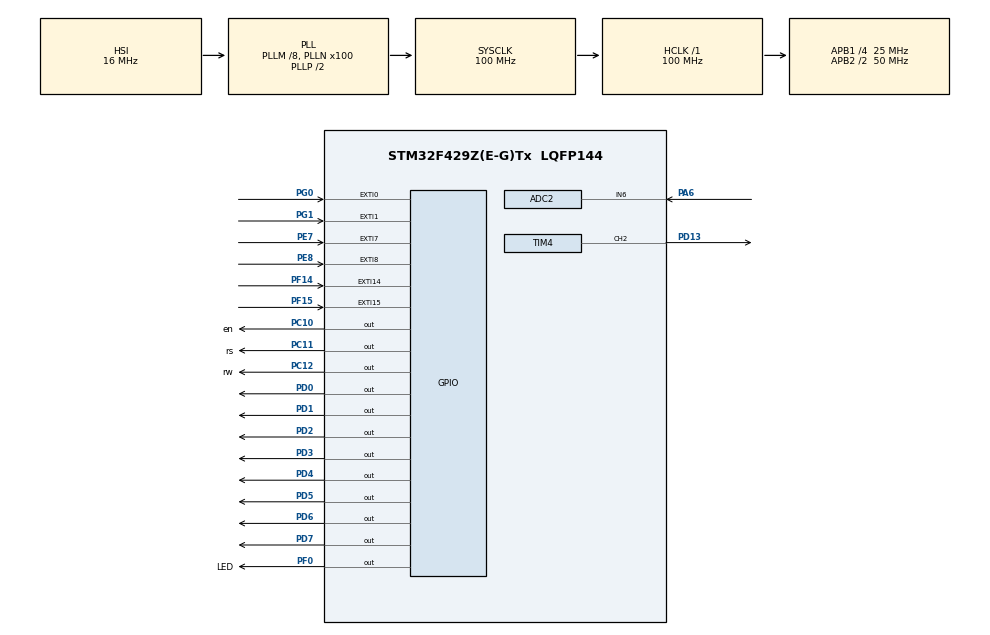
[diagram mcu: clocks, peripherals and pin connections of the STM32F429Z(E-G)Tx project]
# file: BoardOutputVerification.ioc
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ADC2.Channel-0\#ChannelRegularConversion=ADC_CHANNEL_6
ADC2.Channel-IN6=ADC_CHANNEL_6
ADC2.ClockPrescaler=ADC_CLOCK_SYNC_PCLK_DIV4
ADC2.ContinuousConvMode=DISABLE
ADC2.DMAContinuousRequests=DISABLE
ADC2.DataAlign=ADC_DATAALIGN_RIGHT
ADC2.DiscontinuousConvMode=DISABLE
ADC2.EOCSelection=ADC_EOC_SINGLE_CONV
ADC2.EnableAnalogWatchDog=false
ADC2.ExternalTrigConv=ADC_SOFTWARE_START
ADC2.ExternalTrigConvEdge=ADC_EXTERNALTRIGCONVEDGE_NONE
ADC2.InjNumberOfConversion=0
ADC2.Mode=__NULL
ADC2.NbrOfConversion=1
ADC2.Rank-0\#ChannelRegularConversion=1
ADC2.Resolution=ADC_RESOLUTION_12B
ADC2.SamplingTime-0\#ChannelRegularConversion=ADC_SAMPLETIME_3CYCLES
ADC2.ScanConvMode=DISABLE
Mcu.Family=STM32F4
Mcu.Name=STM32F429Z(E-G)Tx
Mcu.Package=LQFP144
NVIC.ADC_IRQn=true\:0\:0\:false\:false\:true\:true\:true
NVIC.PriorityGroup=NVIC_PRIORITYGROUP_4
PA13.Mode=Trace_Asynchronous_SW
PA13.Signal=SYS_JTMS-SWDIO
PA14.Mode=Trace_Asynchronous_SW
PA14.Signal=SYS_JTCK-SWCLK
PA6.Signal=ADCx_IN6
PB3.Mode=Trace_Asynchronous_SW
PB3.Signal=SYS_JTDO-SWO
PC10.GPIO_Label=en
PC10.Signal=GPIO_Output
PC11.GPIO_Label=rs
PC11.Signal=GPIO_Output
PC12.GPIO_Label=rw
PC12.Signal=GPIO_Output
PD0.Signal=GPIO_Output
PD1.Signal=GPIO_Output
PD13.Signal=S_TIM4_CH2
PD2.Signal=GPIO_Output
PD3.Signal=GPIO_Output
PD4.Signal=GPIO_Output
PD5.Signal=GPIO_Output
PD6.Signal=GPIO_Output
PD7.Signal=GPIO_Output
PE7.GPIO_ModeDefaultEXTI=GPIO_MODE_IT_FALLING
PE7.GPIO_PuPd=GPIO_PULLUP
PE7.Signal=GPXTI7
PE8.GPIO_ModeDefaultEXTI=GPIO_MODE_IT_FALLING
PE8.GPIO_PuPd=GPIO_PULLUP
PE8.Signal=GPXTI8
PF0.GPIO_Label=LED
PF0.Signal=GPIO_Output
PF14.GPIO_ModeDefaultEXTI=GPIO_MODE_IT_FALLING
PF14.GPIO_PuPd=GPIO_PULLUP
PF14.Signal=GPXTI14
PF15.GPIO_ModeDefaultEXTI=GPIO_MODE_IT_FALLING
PF15.GPIO_PuPd=GPIO_PULLUP
PF15.Signal=GPXTI15
PG0.GPIO_ModeDefaultEXTI=GPIO_MODE_IT_FALLING
PG0.GPIO_PuPd=GPIO_PULLUP
PG0.Signal=GPXTI0
PG1.GPIO_ModeDefaultEXTI=GPIO_MODE_IT_FALLING
PG1.GPIO_PuPd=GPIO_PULLUP
PG1.Signal=GPXTI1
PH0/OSC_IN.Mode=HSE-External-Oscillator
PH0/OSC_IN.Signal=RCC_OSC_IN
PH1/OSC_OUT.Mode=HSE-External-Oscillator
PH1/OSC_OUT.Signal=RCC_OSC_OUT
ProjectManager.HeapSize=0x200
ProjectManager.StackSize=0x400
ProjectManager.TargetToolchain=EWARM V8
RCC.48MHZClocksFreq_Value=50000000
RCC.AHBFreq_Value=100000000
RCC.APB1CLKDivider=RCC_HCLK_DIV4
RCC.APB1Freq_Value=25000000
RCC.APB1TimFreq_Value=50000000
RCC.APB2CLKDivider=RCC_HCLK_DIV2
RCC.APB2Freq_Value=50000000
RCC.APB2TimFreq_Value=100000000
RCC.CortexFreq_Value=100000000
RCC.FLatency=FLASH_LATENCY_3
RCC.HCLKFreq_Value=100000000
RCC.HSE_VALUE=25000000
RCC.HSI_VALUE=16000000
RCC.LSE_VALUE=32768
RCC.PLLM=8
RCC.PLLN=100
RCC.SYSCLKFreq_VALUE=100000000
RCC.SYSCLKSource=RCC_SYSCLKSOURCE_PLLCLK
RCC.VCOOutputFreq_Value=200000000
SH.ADCx_IN6.0=ADC2_IN6,IN6
SH.S_TIM4_CH2.0=TIM4_CH2,PWM Generation2 CH2
TIM4.AutoReloadPreload=TIM_AUTORELOAD_PRELOAD_DISABLE
TIM4.Channel-PWM\ Generation2\ CH2=TIM_CHANNEL_2
TIM4.ClockDivision=TIM_CLOCKDIVISION_DIV1
TIM4.CounterMode=TIM_COUNTERMODE_UP
TIM4.OCFastMode_PWM-PWM\ Generation2\ CH2=TIM_OCFAST_DISABLE
TIM4.OCMode_PWM-PWM\ Generation2\ CH2=TIM_OCMODE_PWM1
TIM4.OCPolarity_2=TIM_OCPOLARITY_HIGH
TIM4.Period=0xFFFF
TIM4.Prescaler=7
TIM4.Pulse-PWM\ Generation2\ CH2=0
TIM4.TIM_MasterOutputTrigger=TIM_TRGO_RESET
TIM4.TIM_MasterSlaveMode=TIM_MASTERSLAVEMODE_DISABLE
board=custom

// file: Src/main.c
/* USER CODE BEGIN Header */
/**
  ******************************************************************************
  * @file           : main.c
  * @brief          : Main program body
  ******************************************************************************
  * @attention
  *
  * <h2><center>&copy; Copyright (c) 2020 STMicroelectronics.
  * All rights reserved.</center></h2>
  *
  * This software component is licensed by ST under BSD 3-Clause license,
  * the "License"; You may not use this file except in compliance with the
  * License. You may obtain a copy of the License at:
  *                        opensource.org/licenses/BSD-3-Clause
  *
  ******************************************************************************
  */
/* USER CODE END Header */

#include "main.h"

ADC_HandleTypeDef hadc2;

TIM_HandleTypeDef htim4;

void SystemClock_Config(void);
static void MX_GPIO_Init(void);
static void MX_ADC2_Init(void);
static void MX_TIM4_Init(void);

int main(void)
{
  /* USER CODE BEGIN 1 */
  printf("Booting\n");
  /* USER CODE END 1 */

  /* MCU Configuration--------------------------------------------------------*/

  /* Reset of all peripherals, Initializes the Flash interface and the Systick. */
  HAL_Init();

  /* Configure the system clock */
  SystemClock_Config();

  /* Initialize all configured peripherals */
  MX_GPIO_Init();
  MX_ADC2_Init();
  MX_TIM4_Init();

  /* Infinite loop */
  /* USER CODE BEGIN WHILE */
  while (1)
  {
    printf("Fuckayou\n");
    HAL_GPIO_TogglePin(LED_GPIO_Port, LED_Pin);
    HAL_Delay(10);
    HAL_GPIO_TogglePin(GPIOC, en_Pin);
    HAL_Delay(10);
    HAL_GPIO_TogglePin(GPIOC, rs_Pin);
    HAL_Delay(10);
    HAL_GPIO_TogglePin(GPIOC, rw_Pin);
    HAL_Delay(10);
    HAL_GPIO_TogglePin(GPIOD, GPIO_PIN_0);
    HAL_Delay(10);
    HAL_GPIO_TogglePin(GPIOD, GPIO_PIN_1);
    HAL_Delay(10);
    HAL_GPIO_TogglePin(GPIOD, GPIO_PIN_2);
    HAL_Delay(10);
    HAL_GPIO_TogglePin(GPIOD, GPIO_PIN_3);
    HAL_Delay(10);
    HAL_GPIO_TogglePin(GPIOD, GPIO_PIN_4);
    HAL_Delay(10);
    HAL_GPIO_TogglePin(GPIOD, GPIO_PIN_5);
    HAL_Delay(10);
    HAL_GPIO_TogglePin(GPIOD, GPIO_PIN_6);
    HAL_Delay(10);
    HAL_GPIO_TogglePin(GPIOD, GPIO_PIN_7);
    HAL_Delay(10);
    /* USER CODE END WHILE */

  }
}

void SystemClock_Config(void)
{
  RCC_OscInitTypeDef RCC_OscInitStruct = {0};
  RCC_ClkInitTypeDef RCC_ClkInitStruct = {0};

  /** Configure the main internal regulator output voltage
  */
  __HAL_RCC_PWR_CLK_ENABLE();
  __HAL_PWR_VOLTAGESCALING_CONFIG(PWR_REGULATOR_VOLTAGE_SCALE3);
  /** Initializes the CPU, AHB and APB busses clocks
  */
  RCC_OscInitStruct.OscillatorType = RCC_OSCILLATORTYPE_HSI;
  RCC_OscInitStruct.HSIState = RCC_HSI_ON;
  RCC_OscInitStruct.HSICalibrationValue = RCC_HSICALIBRATION_DEFAULT;
  RCC_OscInitStruct.PLL.PLLState = RCC_PLL_ON;
  RCC_OscInitStruct.PLL.PLLSource = RCC_PLLSOURCE_HSI;
  RCC_OscInitStruct.PLL.PLLM = 8;
  RCC_OscInitStruct.PLL.PLLN = 100;
  RCC_OscInitStruct.PLL.PLLP = RCC_PLLP_DIV2;
  RCC_OscInitStruct.PLL.PLLQ = 4;
  if (HAL_RCC_OscConfig(&RCC_OscInitStruct) != HAL_OK)
  {
    Error_Handler();
  }
  /** Initializes the CPU, AHB and APB busses clocks
  */
  RCC_ClkInitStruct.ClockType = RCC_CLOCKTYPE_HCLK|RCC_CLOCKTYPE_SYSCLK
                              |RCC_CLOCKTYPE_PCLK1|RCC_CLOCKTYPE_PCLK2;
  RCC_ClkInitStruct.SYSCLKSource = RCC_SYSCLKSOURCE_PLLCLK;
  RCC_ClkInitStruct.AHBCLKDivider = RCC_SYSCLK_DIV1;
  RCC_ClkInitStruct.APB1CLKDivider = RCC_HCLK_DIV4;
  RCC_ClkInitStruct.APB2CLKDivider = RCC_HCLK_DIV2;

  if (HAL_RCC_ClockConfig(&RCC_ClkInitStruct, FLASH_LATENCY_3) != HAL_OK)
  {
    Error_Handler();
  }
}

static void MX_ADC2_Init(void)
{

  ADC_ChannelConfTypeDef sConfig = {0};

  /** Configure the global features of the ADC (Clock, Resolution, Data Alignment and number of conversion)
  */
  hadc2.Instance = ADC2;
  hadc2.Init.ClockPrescaler = ADC_CLOCK_SYNC_PCLK_DIV4;
  hadc2.Init.Resolution = ADC_RESOLUTION_12B;
  hadc2.Init.ScanConvMode = DISABLE;
  hadc2.Init.ContinuousConvMode = DISABLE;
  hadc2.Init.DiscontinuousConvMode = DISABLE;
  hadc2.Init.ExternalTrigConvEdge = ADC_EXTERNALTRIGCONVEDGE_NONE;
  hadc2.Init.ExternalTrigConv = ADC_SOFTWARE_START;
  hadc2.Init.DataAlign = ADC_DATAALIGN_RIGHT;
  hadc2.Init.NbrOfConversion = 1;
  hadc2.Init.DMAContinuousRequests = DISABLE;
  hadc2.Init.EOCSelection = ADC_EOC_SINGLE_CONV;
  if (HAL_ADC_Init(&hadc2) != HAL_OK)
  {
    Error_Handler();
  }
  /** Configure for the selected ADC regular channel its corresponding rank in the sequencer and its sample time.
  */
  sConfig.Channel = ADC_CHANNEL_6;
  sConfig.Rank = 1;
  sConfig.SamplingTime = ADC_SAMPLETIME_3CYCLES;
  if (HAL_ADC_ConfigChannel(&hadc2, &sConfig) != HAL_OK)
  {
    Error_Handler();
  }

}

static void MX_TIM4_Init(void)
{

  TIM_MasterConfigTypeDef sMasterConfig = {0};
  TIM_OC_InitTypeDef sConfigOC = {0};

  htim4.Instance = TIM4;
  htim4.Init.Prescaler = 7;
  htim4.Init.CounterMode = TIM_COUNTERMODE_UP;
  htim4.Init.Period = 0xFFFF;
  htim4.Init.ClockDivision = TIM_CLOCKDIVISION_DIV1;
  htim4.Init.AutoReloadPreload = TIM_AUTORELOAD_PRELOAD_DISABLE;
  if (HAL_TIM_PWM_Init(&htim4) != HAL_OK)
  {
    Error_Handler();
  }
  sMasterConfig.MasterOutputTrigger = TIM_TRGO_RESET;
  sMasterConfig.MasterSlaveMode = TIM_MASTERSLAVEMODE_DISABLE;
  if (HAL_TIMEx_MasterConfigSynchronization(&htim4, &sMasterConfig) != HAL_OK)
  {
    Error_Handler();
  }
  sConfigOC.OCMode = TIM_OCMODE_PWM1;
  sConfigOC.Pulse = 0;
  sConfigOC.OCPolarity = TIM_OCPOLARITY_HIGH;
  sConfigOC.OCFastMode = TIM_OCFAST_DISABLE;
  if (HAL_TIM_PWM_ConfigChannel(&htim4, &sConfigOC, TIM_CHANNEL_2) != HAL_OK)
  {
    Error_Handler();
  }
  HAL_TIM_MspPostInit(&htim4);

}

static void MX_GPIO_Init(void)
{
  GPIO_InitTypeDef GPIO_InitStruct = {0};

  /* GPIO Ports Clock Enable */
  __HAL_RCC_GPIOF_CLK_ENABLE();
  __HAL_RCC_GPIOH_CLK_ENABLE();
  __HAL_RCC_GPIOA_CLK_ENABLE();
  __HAL_RCC_GPIOG_CLK_ENABLE();
  __HAL_RCC_GPIOE_CLK_ENABLE();
  __HAL_RCC_GPIOD_CLK_ENABLE();
  __HAL_RCC_GPIOC_CLK_ENABLE();
  __HAL_RCC_GPIOB_CLK_ENABLE();

  /*Configure GPIO pin Output Level */
  HAL_GPIO_WritePin(LED_GPIO_Port, LED_Pin, GPIO_PIN_RESET);

  /*Configure GPIO pin Output Level */
  HAL_GPIO_WritePin(GPIOC, en_Pin|rs_Pin|rw_Pin, GPIO_PIN_RESET);

  /*Configure GPIO pin Output Level */
  HAL_GPIO_WritePin(GPIOD, GPIO_PIN_0|GPIO_PIN_1|GPIO_PIN_2|GPIO_PIN_3
                          |GPIO_PIN_4|GPIO_PIN_5|GPIO_PIN_6|GPIO_PIN_7, GPIO_PIN_RESET);

  /*Configure GPIO pin : LED_Pin */
  GPIO_InitStruct.Pin = LED_Pin;
  GPIO_InitStruct.Mode = GPIO_MODE_OUTPUT_PP;
  GPIO_InitStruct.Pull = GPIO_NOPULL;
  GPIO_InitStruct.Speed = GPIO_SPEED_FREQ_LOW;
  HAL_GPIO_Init(LED_GPIO_Port, &GPIO_InitStruct);

  /*Configure GPIO pins : PF14 PF15 */
  GPIO_InitStruct.Pin = GPIO_PIN_14|GPIO_PIN_15;
  GPIO_InitStruct.Mode = GPIO_MODE_IT_FALLING;
  GPIO_InitStruct.Pull = GPIO_PULLUP;
  HAL_GPIO_Init(GPIOF, &GPIO_InitStruct);

  /*Configure GPIO pins : PG0 PG1 */
  GPIO_InitStruct.Pin = GPIO_PIN_0|GPIO_PIN_1;
  GPIO_InitStruct.Mode = GPIO_MODE_IT_FALLING;
  GPIO_InitStruct.Pull = GPIO_PULLUP;
  HAL_GPIO_Init(GPIOG, &GPIO_InitStruct);

  /*Configure GPIO pins : PE7 PE8 */
  GPIO_InitStruct.Pin = GPIO_PIN_7|GPIO_PIN_8;
  GPIO_InitStruct.Mode = GPIO_MODE_IT_FALLING;
  GPIO_InitStruct.Pull = GPIO_PULLUP;
  HAL_GPIO_Init(GPIOE, &GPIO_InitStruct);

  /*Configure GPIO pins : en_Pin rs_Pin rw_Pin */
  GPIO_InitStruct.Pin = en_Pin|rs_Pin|rw_Pin;
  GPIO_InitStruct.Mode = GPIO_MODE_OUTPUT_PP;
  GPIO_InitStruct.Pull = GPIO_NOPULL;
  GPIO_InitStruct.Speed = GPIO_SPEED_FREQ_LOW;
  HAL_GPIO_Init(GPIOC, &GPIO_InitStruct);

  /*Configure GPIO pins : PD0 PD1 PD2 PD3
                           PD4 PD5 PD6 PD7 */
  GPIO_InitStruct.Pin = GPIO_PIN_0|GPIO_PIN_1|GPIO_PIN_2|GPIO_PIN_3
                          |GPIO_PIN_4|GPIO_PIN_5|GPIO_PIN_6|GPIO_PIN_7;
  GPIO_InitStruct.Mode = GPIO_MODE_OUTPUT_PP;
  GPIO_InitStruct.Pull = GPIO_NOPULL;
  GPIO_InitStruct.Speed = GPIO_SPEED_FREQ_LOW;
  HAL_GPIO_Init(GPIOD, &GPIO_InitStruct);

}

void Error_Handler(void)
{
}

/************************ (C) COPYRIGHT STMicroelectronics *****END OF FILE****/
